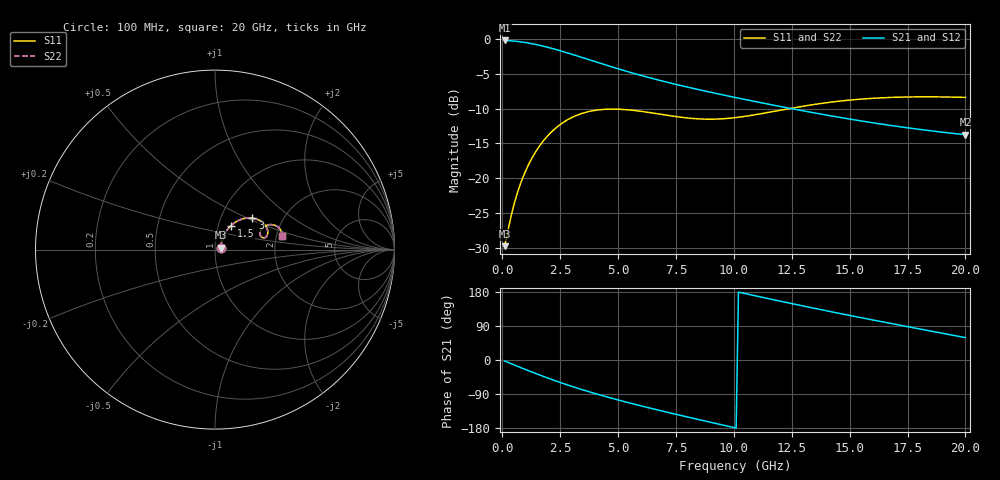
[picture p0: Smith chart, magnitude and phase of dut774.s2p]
! Touchstone file exported from HFSS 2024.1.0
!  File:  C:/UserFiles/LocalFiles/RDL_TSV_Batchsim/temp_RDL_TSV_774_1779903563.aedt
!  Generated:  01:57:35 AM May 28, 2026
!  Design:  RDL_TSV
!  Project:  temp_RDL_TSV_774_1779903563
!  Setup:  Setup1
!  Solution:  Sweep
! Variables:
!  dtsv = 7.75um
!  hbump = 3um
!  htsv = 82.06um
!  ldown = 645.72um
!  lrdl = 649.82um
!  p = 40
!  p1 = 57.91um
!  rhole = 10um
!  subl = 4536.44um
!  t = 450um
!  tdown = 2.42um
!  trdl = 4.8um
!  viad = 10um
!  wdown = 12.83um
!  wrdl = 22.65um
!  xbump = 18um
# GHz S MA R 50.000000
! Terminal data exported
! Port[1] = TM1_1_T1
! Port[2] = TM1_4_T1
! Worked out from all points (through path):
!   200 points, 100 MHz to 20 GHz, reference 50 ohm
!   highest |S21| = -0.27 dB at 100 MHz (marker M1); lowest = -13.7 dB at 20 GHz (marker M2)
!   group delay of S21, straight-line fit = 39.6 ps
!   lowest |S11| = -29.7 dB at 100 MHz (marker M3), VSWR 1.07, Z = 53.2 + j1.18 ohm
!   |S11| at or under -10 dB: start of sweep to 12.41 GHz
!   |S22| runs from -29.7 to -8.3 dB; largest |S21 - S12| = 8.8e-15
!   S11 on the Smith chart (normalised r, x): 100 MHz: 1.06, +0.02; 1.5 GHz: 1.15, +0.32; 3 GHz: 1.41, +0.53; 20 GHz: 2.14, +0.39
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0.1  0.03282 19.7  0.9691 -2.6  0.9691 -2.6  0.03282 19.7
! Gamma 0 0 0 0
! Port Impedance 50 0 50 0
0.4  0.05554 48.4  0.9626 -10.2  0.9626 -10.2  0.05554 48.4
0.7  0.08342 56.4  0.9517 -17.7  0.9517 -17.7  0.08342 56.4
1.1  0.1222 58.3  0.9306 -27.5  0.9306 -27.5  0.1222 58.2
1.5  0.1605 56.3  0.9034 -37.0  0.9034 -37.0  0.1605 56.3
1.8  0.1878 53.7  0.8798 -43.9  0.8798 -43.9  0.1877 53.7
2.2  0.221 49.5  0.8456 -52.8  0.8456 -52.8  0.2208 49.4
2.6  0.2496 44.8  0.8093 -61.4  0.8093 -61.4  0.2493 44.7
3  0.2727 40.0  0.7725 -69.5  0.7725 -69.5  0.2724 39.9
3.5  0.2938 34.3  0.7273 -79.2  0.7273 -79.2  0.2934 34.2
4.2  0.3098 27.1  0.6679 -91.9  0.6679 -91.9  0.3092 27.1
5  0.3126 20.6  0.6078 -105.4  0.6078 -105.4  0.312 20.6
5.9  0.3033 15.8  0.5503 -119.7  0.5503 -119.7  0.3026 15.7
6.8  0.2882 13.6  0.5023 -133.2  0.5023 -133.2  0.2874 13.5
7.6  0.2754 13.8  0.466 -144.8  0.466 -144.8  0.2746 13.8
8.4  0.2671 15.7  0.4343 -156.1  0.4343 -156.1  0.2663 15.7
10.1  0.2726 21.8  0.3779 -179.5  0.3779 -179.5  0.2721 21.9
11.7  0.301 25.0  0.3343 159.2  0.3343 159.2  0.3007 25.1
13.4  0.3368 24.4  0.2957 137.4  0.2957 137.4  0.3366 24.5
15  0.3632 21.6  0.2658 117.6  0.2658 117.6  0.3631 21.6
16.7  0.3791 17.8  0.2402 97.3  0.2402 97.3  0.379 17.8
20  0.3797 11.8  0.2054 59.1  0.2054 59.1  0.3796 11.7
